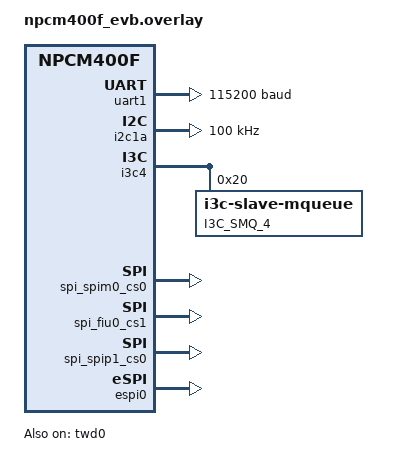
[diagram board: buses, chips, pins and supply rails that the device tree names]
/ {
	chosen {
		zephyr,legacy_console = &uart1;
	};
};

&uart1 {
	status = "okay";
	current-speed = <115200>;

	/* ESPI UARTB to COM port B(SINB SOUTB)*/
	pinctrl-0 = <&pinctrl_sinoutb_default>;

	/*EPSI UARTB to CR_UART2*/
	//ext-loopback;
};

&twd0 {
       status = "okay";
};


/* MCTP over SMBus to BMC */
&i2c1a {
	clock-frequency = <I2C_BITRATE_STANDARD>;
	status = "okay";
};

&i2c1b {
    status = "disabled";
};

&i2c2a {
	status = "disabled";
};

&i2c3a {
	status = "disabled";
};

&i2c4a {
    status = "disabled";
};

&i2c4b {
	status = "disabled";
};

&i2c5a {
	status = "disabled";
};

&i2c6a {
    status = "disabled";
};

&i2c6b {
	status = "disabled";
};

&i2c7a {
	status = "disabled";
};

&i2c8a {
    status = "disabled";
};

&i2c9a {
    status = "disabled";
};

&i2c10a {
    status = "disabled";
};

&i2c11a {
    status = "disabled";
};

&i2c12a {
    status = "disabled";
};

/* disable peci0, pin use by i3c */
&peci0 {
	status = "disabled";
};

/*
 * DT node i3cN drives the I3C(N+1) pins: i3c4 is I3C5_SCL/SDA (B9/A9),
 * i3c5 is I3C6_SCL/SDA (A5/B5).
 */
&i3c5 {
	status = "disabled";
};

/* MCTP over I3C target to BMC, on the I3C5 pins */
&i3c4 {
	bcr = <0x66>;
	dcr = <0xCC>;
	part-id = <0x1234>;
	vendor-def-id = <0x5607>;
	slave;
	secondary;
	status = "okay";
	i3c4_smq:i3c-slave-mqueue@20 {
		compatible = "i3c-slave-mqueue";
		reg = <0x20>;
		msg-size = <256>;
		num-of-msgs = <8>;
		mandatory-data-byte = <0xae>;
		label = "I3C_SMQ_4";
		status = "okay";
	};
};

#if 0
/* test for bridge slave mode only, MCTP EID = 0x12, use for I3C_4 target */
&i3c4 {
	status = "okay";
	bcr = <0x66>;
	dcr = <0xCC>;
	part-id = <0x4321>;
	assigned-address = <0xA>;
	vendor-def-id = <0x777>;
	slave;
	status = "okay";
	i3c4_smq:i3c-slave-mqueue@A {
		compatible = "i3c-slave-mqueue";
		reg = <0xA>;
		msg-size = <256>;
		num-of-msgs = <4>;
		mandatory-data-byte = <0xae>;
		label = "I3C_SMQ_4";
		status = "okay";
	};
};
#endif

#if 0
/* test for bridge slave mode only, MCTP EID = 0x13, use for I3C_4 target */
&i3c4 {
	status = "okay";
	bcr = <0x66>;
	dcr = <0xCC>;
	part-id = <0x4321>;
	assigned-address = <0xB>;
        vendor-def-id = <0x666>;
	slave;
	status = "okay";
	i3c4_smq:i3c-slave-mqueue@B {
		compatible = "i3c-slave-mqueue";
		reg = <0xB>;
		msg-size = <256>;
		num-of-msgs = <4>;
		mandatory-data-byte = <0xae>;
		label = "I3C_SMQ_4";
		status = "okay";
	};
};
#endif

&spi_spim0_cs0 {
	status = "okay";
};

&spi_fiu0_cs1 {
	status = "okay";
};

&spi_spip1_cs0 {
	status = "okay";
};

&espi0 {
	status = "okay";
};


&peci0 {
	status = "disabled";
};
